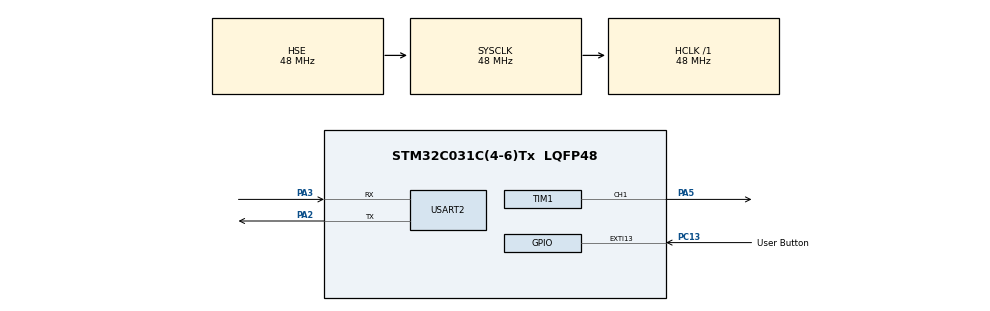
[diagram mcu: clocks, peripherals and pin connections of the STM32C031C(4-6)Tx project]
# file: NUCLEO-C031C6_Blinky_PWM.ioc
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Mcu.Family=STM32C0
Mcu.Name=STM32C031C(4-6)Tx
Mcu.Package=LQFP48
NVIC.EXTI4_15_IRQn=true\:0\:0\:false\:false\:true\:true\:true\:true
PA13.Mode=Serial_Wire
PA13.Signal=DEBUG_SWDIO
PA14-BOOT0.Mode=Serial_Wire
PA14-BOOT0.Signal=DEBUG_SWCLK
PA2.Mode=Asynchronous
PA2.Signal=USART2_TX
PA3.Mode=Asynchronous
PA3.Signal=USART2_RX
PA5.Signal=S_TIM1_CH1
PC13.GPIO_Label=User Button
PC13.Signal=GPXTI13
PC14-OSCX_IN\ (PC14).Mode=LSE-External-Oscillator
PC14-OSCX_IN\ (PC14).Signal=RCC_OSCX_IN
PC15-OSCX_OUT\ (PC15).Mode=LSE-External-Oscillator
PC15-OSCX_OUT\ (PC15).Signal=RCC_OSCX_OUT
PF0-OSC_IN\ (PF0).Mode=HSE-External-Oscillator
PF0-OSC_IN\ (PF0).Signal=RCC_OSC_IN
PF1-OSC_OUT\ (PF1).Mode=HSE-External-Oscillator
PF1-OSC_OUT\ (PF1).Signal=RCC_OSC_OUT
ProjectManager.HeapSize=0x200
ProjectManager.StackSize=0x400
ProjectManager.TargetToolchain=STM32CubeIDE
RCC.ADCFreq_Value=48000000
RCC.AHBFreq_Value=48000000
RCC.CortexFreq_Value=48000000
RCC.EXTERNAL_CLOCK_VALUE=12288000
RCC.HCLKFreq_Value=48000000
RCC.HSE_VALUE=48000000
RCC.HSISYSCLKDivider=RCC_HSI_DIV1
RCC.HSI_VALUE=48000000
RCC.SYSCLKFreq_VALUE=48000000
RCC.SYSCLKSource=RCC_SYSCLKSOURCE_HSE
SH.S_TIM1_CH1.0=TIM1_CH1,PWM Generation1 CH1
TIM1.Channel-PWM\ Generation1\ CH1=TIM_CHANNEL_1
TIM1.Period=100-1
TIM1.Prescaler=48-1
USART2.VirtualMode-Asynchronous=VM_ASYNC
board=NUCLEO-C031C6

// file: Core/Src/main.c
/* USER CODE BEGIN Header */
/**
  ******************************************************************************
  * @file           : main.c
  * @brief          : Main program body
  ******************************************************************************
  * @attention
  *
  * Copyright (c) 2023 STMicroelectronics.
  * All rights reserved.
  *
  * This software is licensed under terms that can be found in the LICENSE file
  * in the root directory of this software component.
  * If no LICENSE file comes with this software, it is provided AS-IS.
  *
  ******************************************************************************
  */
/* USER CODE END Header */
#include "main.h"

/* USER CODE BEGIN Includes */
#include <stdio.h> // printf()
/* USER CODE END Includes */

TIM_HandleTypeDef htim1;

UART_HandleTypeDef huart2;

void SystemClock_Config(void);
static void MX_GPIO_Init(void);
static void MX_USART2_UART_Init(void);
static void MX_TIM1_Init(void);

/* USER CODE BEGIN 0 */
#define HAL_SMALL_DELAY  50
// Define serial input and output functions using UART2
int __io_putchar(int ch)
{
    HAL_UART_Transmit(&huart2, (uint8_t *)&ch, 1, HAL_SMALL_DELAY); // infinite delay value
    return 1;
}

// Read a character from the UART with small timeout
// This function works well if called within a 50ms or shorter loop, but may lose characters if
// data is received with any real speed.
// Use DMA for receive data if trying to perform higher speed communication (anything faster than typing).
// If HAL_UART_Receive() returns error, return EOF (-1), else return the character read
int __io_getchar(void)
{
    uint8_t byte;
    HAL_StatusTypeDef hal_status = HAL_UART_Receive(&huart2, &byte, sizeof(byte), HAL_SMALL_DELAY);
    if(HAL_OK == hal_status)
    {
        return byte;
    }
    else
        return EOF;
}

/* USER CODE END 0 */

int main(void)
{

  /* MCU Configuration--------------------------------------------------------*/

  /* Reset of all peripherals, Initializes the Flash interface and the Systick. */
  HAL_Init();

  /* Configure the system clock */
  SystemClock_Config();

  /* Initialize all configured peripherals */
  MX_GPIO_Init();
  MX_USART2_UART_Init();
  MX_TIM1_Init();
  /* USER CODE BEGIN 2 */
  // Disable stdout buffering
  setvbuf(stdout, NULL, _IONBF, 0);

  // Timer1 Channel 1 configured as follows:
  // Timer1 - Channel 1: PWM Generation CH1
  // Prescaler (PSC): 48-1
  // Counter Period (AutoReload): 100-1
  // PWM Generation Channel 1 Pulse: 0  - off by default
  // With the above configuration, CCR1: 0  LED fully off, CCR1: 100 LED fully on

  // Start TIM1_CH1
  HAL_TIM_PWM_Start(&htim1,TIM_CHANNEL_1);

  /* USER CODE END 2 */

  /* Infinite loop */
  /* USER CODE BEGIN WHILE */
  while (1)
  {
	// Sweep CCR1 from 0 to 100, incrementing 5 at a time
	for(int i=0;i<=100;i+=5) {
		htim1.Instance->CCR1 = i;
		HAL_Delay(50);
	}

	// Sweep CCR1 from 100 to 0, idecrementing 5 at a time
	for(int i=100;i>=0;i-=5) {
		htim1.Instance->CCR1 = i; //
		HAL_Delay(50);
	}
    /* USER CODE END WHILE */

  }
}

void SystemClock_Config(void)
{
  RCC_OscInitTypeDef RCC_OscInitStruct = {0};
  RCC_ClkInitTypeDef RCC_ClkInitStruct = {0};

  /** Initializes the RCC Oscillators according to the specified parameters
  * in the RCC_OscInitTypeDef structure.
  */
  RCC_OscInitStruct.OscillatorType = RCC_OSCILLATORTYPE_HSE;
  RCC_OscInitStruct.HSEState = RCC_HSE_ON;
  if (HAL_RCC_OscConfig(&RCC_OscInitStruct) != HAL_OK)
  {
    Error_Handler();
  }

  /** Initializes the CPU, AHB and APB buses clocks
  */
  RCC_ClkInitStruct.ClockType = RCC_CLOCKTYPE_HCLK|RCC_CLOCKTYPE_SYSCLK
                              |RCC_CLOCKTYPE_PCLK1;
  RCC_ClkInitStruct.SYSCLKSource = RCC_SYSCLKSOURCE_HSE;
  RCC_ClkInitStruct.SYSCLKDivider = RCC_SYSCLK_DIV1;
  RCC_ClkInitStruct.AHBCLKDivider = RCC_HCLK_DIV1;
  RCC_ClkInitStruct.APB1CLKDivider = RCC_APB1_DIV1;

  if (HAL_RCC_ClockConfig(&RCC_ClkInitStruct, FLASH_LATENCY_1) != HAL_OK)
  {
    Error_Handler();
  }
}

static void MX_TIM1_Init(void)
{

  TIM_MasterConfigTypeDef sMasterConfig = {0};
  TIM_OC_InitTypeDef sConfigOC = {0};
  TIM_BreakDeadTimeConfigTypeDef sBreakDeadTimeConfig = {0};

  htim1.Instance = TIM1;
  htim1.Init.Prescaler = 48-1;
  htim1.Init.CounterMode = TIM_COUNTERMODE_UP;
  htim1.Init.Period = 100-1;
  htim1.Init.ClockDivision = TIM_CLOCKDIVISION_DIV1;
  htim1.Init.RepetitionCounter = 0;
  htim1.Init.AutoReloadPreload = TIM_AUTORELOAD_PRELOAD_DISABLE;
  if (HAL_TIM_PWM_Init(&htim1) != HAL_OK)
  {
    Error_Handler();
  }
  sMasterConfig.MasterOutputTrigger = TIM_TRGO_RESET;
  sMasterConfig.MasterOutputTrigger2 = TIM_TRGO2_RESET;
  sMasterConfig.MasterSlaveMode = TIM_MASTERSLAVEMODE_DISABLE;
  if (HAL_TIMEx_MasterConfigSynchronization(&htim1, &sMasterConfig) != HAL_OK)
  {
    Error_Handler();
  }
  sConfigOC.OCMode = TIM_OCMODE_PWM1;
  sConfigOC.Pulse = 0;
  sConfigOC.OCPolarity = TIM_OCPOLARITY_HIGH;
  sConfigOC.OCNPolarity = TIM_OCNPOLARITY_HIGH;
  sConfigOC.OCFastMode = TIM_OCFAST_DISABLE;
  sConfigOC.OCIdleState = TIM_OCIDLESTATE_RESET;
  sConfigOC.OCNIdleState = TIM_OCNIDLESTATE_RESET;
  if (HAL_TIM_PWM_ConfigChannel(&htim1, &sConfigOC, TIM_CHANNEL_1) != HAL_OK)
  {
    Error_Handler();
  }
  sBreakDeadTimeConfig.OffStateRunMode = TIM_OSSR_DISABLE;
  sBreakDeadTimeConfig.OffStateIDLEMode = TIM_OSSI_DISABLE;
  sBreakDeadTimeConfig.LockLevel = TIM_LOCKLEVEL_OFF;
  sBreakDeadTimeConfig.DeadTime = 0;
  sBreakDeadTimeConfig.BreakState = TIM_BREAK_DISABLE;
  sBreakDeadTimeConfig.BreakPolarity = TIM_BREAKPOLARITY_HIGH;
  sBreakDeadTimeConfig.BreakFilter = 0;
  sBreakDeadTimeConfig.BreakAFMode = TIM_BREAK_AFMODE_INPUT;
  sBreakDeadTimeConfig.Break2State = TIM_BREAK2_DISABLE;
  sBreakDeadTimeConfig.Break2Polarity = TIM_BREAK2POLARITY_HIGH;
  sBreakDeadTimeConfig.Break2Filter = 0;
  sBreakDeadTimeConfig.Break2AFMode = TIM_BREAK_AFMODE_INPUT;
  sBreakDeadTimeConfig.AutomaticOutput = TIM_AUTOMATICOUTPUT_DISABLE;
  if (HAL_TIMEx_ConfigBreakDeadTime(&htim1, &sBreakDeadTimeConfig) != HAL_OK)
  {
    Error_Handler();
  }
  HAL_TIM_MspPostInit(&htim1);

}

static void MX_USART2_UART_Init(void)
{

  huart2.Instance = USART2;
  huart2.Init.BaudRate = 115200;
  huart2.Init.WordLength = UART_WORDLENGTH_8B;
  huart2.Init.StopBits = UART_STOPBITS_1;
  huart2.Init.Parity = UART_PARITY_NONE;
  huart2.Init.Mode = UART_MODE_TX_RX;
  huart2.Init.HwFlowCtl = UART_HWCONTROL_NONE;
  huart2.Init.OverSampling = UART_OVERSAMPLING_16;
  huart2.Init.OneBitSampling = UART_ONE_BIT_SAMPLE_DISABLE;
  huart2.Init.ClockPrescaler = UART_PRESCALER_DIV1;
  huart2.AdvancedInit.AdvFeatureInit = UART_ADVFEATURE_NO_INIT;
  if (HAL_UART_Init(&huart2) != HAL_OK)
  {
    Error_Handler();
  }

}

static void MX_GPIO_Init(void)
{
  GPIO_InitTypeDef GPIO_InitStruct = {0};

  /* GPIO Ports Clock Enable */
  __HAL_RCC_GPIOC_CLK_ENABLE();
  __HAL_RCC_GPIOF_CLK_ENABLE();
  __HAL_RCC_GPIOA_CLK_ENABLE();

  /*Configure GPIO pin : User_Button_Pin */
  GPIO_InitStruct.Pin = User_Button_Pin;
  GPIO_InitStruct.Mode = GPIO_MODE_IT_RISING;
  GPIO_InitStruct.Pull = GPIO_NOPULL;
  HAL_GPIO_Init(User_Button_GPIO_Port, &GPIO_InitStruct);

  /* EXTI interrupt init*/
  HAL_NVIC_SetPriority(EXTI4_15_IRQn, 0, 0);
  HAL_NVIC_EnableIRQ(EXTI4_15_IRQn);

}

void Error_Handler(void)
{
  __disable_irq();
  while (1)
  {
  }
}
